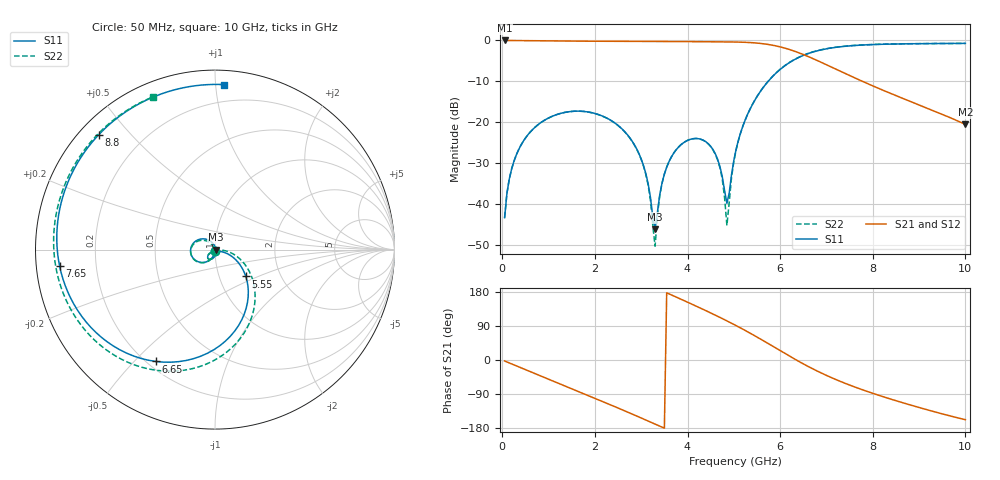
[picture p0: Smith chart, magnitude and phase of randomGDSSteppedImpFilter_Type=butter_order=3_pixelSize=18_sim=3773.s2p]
! freq	dB(S11)	phase(S11)	dB(S12)	phase(S12)
!  dB(S21)	phase(S21)	dB(S22)	phase(S22)
!S-par simulation data
#  GHz  S  DB  R 50
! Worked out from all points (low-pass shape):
!   200 points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, 50 MHz to 10 GHz, reference 50 ohm
!   highest |S21| = 0.00 dB at 50 MHz (marker M1); lowest = -20.5 dB at 10 GHz (marker M2)
!   |S21| within 3 dB of the highest: start of sweep to 6.4 GHz
!   lowest |S11| = -46.2 dB at 3.3 GHz (marker M3), VSWR 1.01, Z = 50.5 + j0.00384 ohm
!   |S11| at or under -10 dB: start of sweep to 5.741 GHz
!   |S22| runs from -50.3 to -0.7 dB; largest |S21 - S12| = 0
!   S11 on the Smith chart (normalised r, x): 50 MHz: 1.00, -0.01; 5.55 GHz: 1.34, -0.42; 6.65 GHz: 0.23, -0.58; 7.65 GHz: 0.07, -0.05; 8.8 GHz: 0.05, +0.41; 10 GHz: 0.09, +1.05
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0.05  -43.33 -91.5  -0.00 -2.6  -0.00 -2.6  -43.32 -91.4
0.2  -31.49 -100.0  -0.02 -10.2  -0.02 -10.2  -31.49 -99.7
0.5  -23.86 -116.2  -0.05 -25.5  -0.05 -25.5  -23.86 -115.5
1.75  -17.34 179.1  -0.18 -88.4  -0.18 -88.4  -17.35 -177.7
2.9  -26.47 115.0  -0.19 -147.7  -0.19 -147.7  -26.55 126.3
3.15  -35.06 91.9  -0.20 -161.0  -0.20 -161.0  -35.42 118.9
3.3  -46.16 0.4  -0.21 -169.1  -0.21 -169.1  -50.30 -147.8
3.4  -37.75 -64.8  -0.22 -174.5  -0.22 -174.5  -37.96 -94.4
3.75  -26.80 -99.2  -0.26 166.4  -0.26 166.4  -26.78 -104.0
4.3  -24.21 -130.4  -0.32 135.7  -0.32 135.7  -24.22 -131.3
4.65  -29.06 -143.3  -0.34 115.4  -0.34 115.4  -29.25 -146.5
4.75  -33.29 -138.1  -0.35 109.4  -0.35 109.4  -33.94 -146.0
4.85  -39.82 -88.3  -0.36 103.3  -0.36 103.3  -45.24 -90.2
5.05  -26.57 -16.9  -0.39 90.7  -0.39 90.7  -26.72 -5.2
5.55  -12.85 -41.1  -0.70 57.1  -0.70 57.1  -12.83 -32.7
6.05  -6.62 -76.3  -1.72 21.0  -1.72 21.0  -6.59 -67.3
6.65  -3.03 -117.9  -4.15 -20.0  -4.15 -20.0  -3.00 -107.2
6.7  -2.85 -121.1  -4.40 -23.1  -4.40 -23.1  -2.82 -110.3
7.65  -1.21 -173.8  -9.36 -73.0  -9.36 -73.0  -1.18 -159.5
8.35  -0.90 154.4  -12.79 -101.8  -12.79 -101.8  -0.88 171.7
8.8  -0.81 135.5  -14.86 -118.3  -14.86 -118.3  -0.80 154.9
10  -0.72 87.0  -20.53 -157.6  -20.53 -157.6  -0.74 112.2
